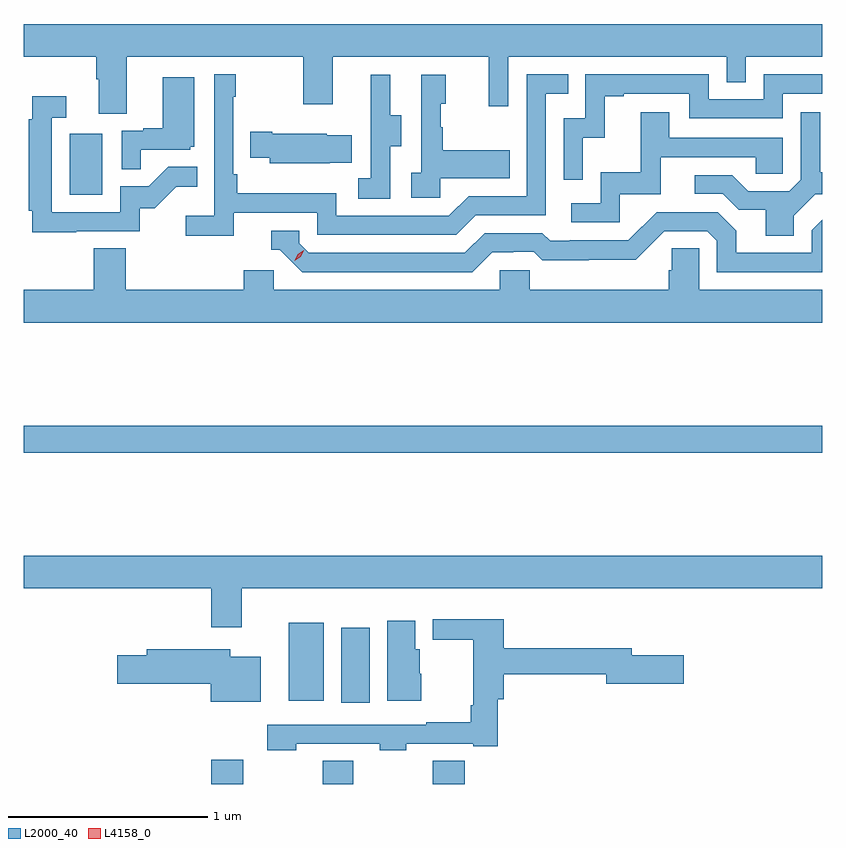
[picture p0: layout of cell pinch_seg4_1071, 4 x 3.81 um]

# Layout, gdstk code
import gdstk
lib = gdstk.Library(unit=1e-6, precision=1e-09)
def R(c, l, rs):  # rectangles x0, y0, x1, y1
    for r in rs: c.add(gdstk.rectangle(r[:2], r[2:], *l))
def P(c, l, *ps):  # polygons
    for p in ps: c.add(gdstk.Polygon(p, *l))
L2000_40 = (2000, 40)
L4158_0 = (4158, 0)

pinch_seg4_1071 = lib.new_cell('pinch_seg4_1071')
R(pinch_seg4_1071, L2000_40, [(861.557,757.212,861.717,757.333), (862.114,757.212,862.268,757.328), (862.666,757.212,862.826,757.328), (862.208,757.62,862.351,757.996), (861.944,757.628,862.12,758.02), (860.617,758.872,864.617,759.008), (860.846,760.164,861.01,760.471)])
P(pinch_seg4_1071, L2000_40, [(861.133,760.856),(862.018,760.856),(862.018,760.617),(862.165,760.617),(862.165,760.856),(862.946,760.856),(862.946,760.608),(863.043,760.608),(863.043,760.856),(864.138,760.856),(864.138,760.729),(864.234,760.729),(864.234,760.856),(864.617,760.856),(864.617,761.02),(860.617,761.02),(860.617,760.856),(860.981,760.856),(860.981,760.744),(860.993,760.744),(860.993,760.57),(861.133,760.57)],
  [(861.668,760.074),(862.086,760.074),(862.086,759.963),(862.783,759.963),(862.882,760.062),(863.232,760.062),(863.232,760.671),(863.345,760.671),(863.345,760.767),(863.136,760.767),(863.136,760.158),(862.845,760.158),(862.746,760.059),(862.182,760.059),(862.182,760.171),(861.686,760.171),(861.686,760.267),(861.666,760.267),(861.666,760.655),(861.679,760.655),(861.679,760.768),(861.57,760.768),(861.57,760.06),(861.429,760.06),(861.429,759.958),(861.668,759.958)],
  [(863.418,760.451),(863.528,760.451),(863.528,760.659),(863.623,760.659),(863.623,760.671),(863.952,760.671),(863.952,760.548),(864.42,760.548),(864.42,760.671),(864.617,760.671),(864.617,760.767),(864.324,760.767),(864.324,760.644),(864.048,760.644),(864.048,760.767),(863.43,760.767),(863.43,760.548),(863.322,760.548),(863.322,760.239),(863.418,760.239)],
  [(862.704,760.247),(863.051,760.247),(863.051,760.387),(862.717,760.387),(862.717,760.502),(862.707,760.502),(862.707,760.62),(862.732,760.62),(862.732,760.765),(862.608,760.765),(862.608,760.274),(862.557,760.274),(862.557,760.149),(862.704,760.149)],
  [(862.452,760.408),(862.507,760.408),(862.507,760.563),(862.453,760.563),(862.453,760.765),(862.355,760.765),(862.355,760.551),(862.356,760.551),(862.356,760.247),(862.293,760.247),(862.293,760.144),(862.452,760.144)],
  [(861.203,760.389),(861.45,760.389),(861.45,760.404),(861.472,760.404),(861.472,760.753),(861.314,760.753),(861.314,760.498),(861.215,760.498),(861.215,760.485),(861.108,760.485),(861.108,760.291),(861.203,760.291)],
  [(860.879,759.981),(861.198,759.981),(861.198,760.098),(861.274,760.098),(861.381,760.205),(861.485,760.205),(861.485,760.304),(861.341,760.304),(861.243,760.206),(861.099,760.206),(861.099,760.077),(860.757,760.077),(860.757,760.551),(860.83,760.551),(860.83,760.657),(860.66,760.657),(860.66,760.544),(860.641,760.544),(860.641,760.084),(860.66,760.084),(860.66,759.976),(860.879,759.976)],
  [(863.604,760.167),(863.809,760.167),(863.809,760.353),(864.283,760.353),(864.283,760.269),(864.42,760.269),(864.42,760.449),(863.851,760.449),(863.851,760.579),(863.707,760.579),(863.707,760.276),(863.508,760.276),(863.508,760.122),(863.361,760.122),(863.361,760.026),(863.604,760.026)],
  [(864.475,760.06),(864.582,760.167),(864.617,760.167),(864.617,760.276),(864.607,760.276),(864.607,760.579),(864.51,760.579),(864.51,760.239),(864.453,760.182),(864.247,760.182),(864.166,760.263),(863.979,760.263),(863.979,760.17),(864.12,760.17),(864.2,760.09),(864.335,760.09),(864.335,759.958),(864.475,759.958)],
  [(862.151,760.325),(862.259,760.325),(862.259,760.462),(862.134,760.462),(862.134,760.471),(861.862,760.471),(861.862,760.479),(861.751,760.479),(861.751,760.349),(861.849,760.349),(861.849,760.322),(862.151,760.322)],
  [(862.963,759.876),(863.07,759.876),(863.07,759.879),(863.173,759.879),(863.215,759.837),(863.448,759.837),(863.448,759.839),(863.684,759.839),(863.826,759.981),(864.042,759.981),(864.09,759.933),(864.09,759.777),(864.617,759.777),(864.617,760.04),(864.564,759.987),(864.564,759.873),(864.187,759.873),(864.187,759.983),(864.093,760.077),(863.787,760.077),(863.646,759.936),(863.353,759.936),(863.353,759.933),(863.254,759.933),(863.215,759.972),(862.926,759.972),(862.827,759.873),(862.044,759.873),(861.996,759.921),(861.996,759.984),(861.857,759.984),(861.857,759.888),(861.9,759.888),(862.011,759.777),(862.864,759.777)],
  [(864.617,759.688),(864,759.688),(864,759.896),(863.863,759.896),(863.863,759.786),(863.849,759.786),(863.849,759.688),(863.151,759.688),(863.151,759.786),(863.001,759.786),(863.001,759.688),(861.87,759.688),(861.87,759.786),(861.719,759.786),(861.719,759.688),(861.128,759.688),(861.128,759.896),(860.968,759.896),(860.968,759.688),(860.617,759.688),(860.617,759.524),(864.617,759.524)],
  [(860.617,758.192),(861.557,758.192),(861.557,757.998),(861.709,757.998),(861.709,758.192),(864.617,758.192),(864.617,758.356),(860.617,758.356)],
  [(861.981,757.413),(862.401,757.413),(862.401,757.381),(862.533,757.381),(862.533,757.413),(862.868,757.413),(862.868,757.401),(862.991,757.401),(862.991,757.637),(863.021,757.637),(863.021,757.762),(863.534,757.762),(863.534,757.715),(863.923,757.715),(863.923,757.857),(863.662,757.857),(863.662,757.891),(863.021,757.891),(863.021,758.038),(862.665,758.038),(862.665,757.936),(862.87,757.936),(862.87,757.606),(862.855,757.606),(862.855,757.522),(862.633,757.522),(862.633,757.509),(861.837,757.509),(861.837,757.381),(861.981,757.381)],
  [(862.609,757.764),(862.6,757.764),(862.6,757.887),(862.579,757.887),(862.579,758.029),(862.439,758.029),(862.439,757.628),(862.609,757.628)],
  [(861.805,757.849),(861.652,757.849),(861.652,757.887),(861.233,757.887),(861.233,757.857),(861.084,757.857),(861.084,757.715),(861.554,757.715),(861.554,757.625),(861.805,757.625)])
P(pinch_seg4_1071, L4158_0, [(861.974,759.834),(861.974,759.834),(861.989,759.867),(862.02,759.887),(862.02,759.887),(862.02,759.887),(862.005,759.854),(861.974,759.834)])

lib.write_gds('pinch_seg4_1071.gds')
